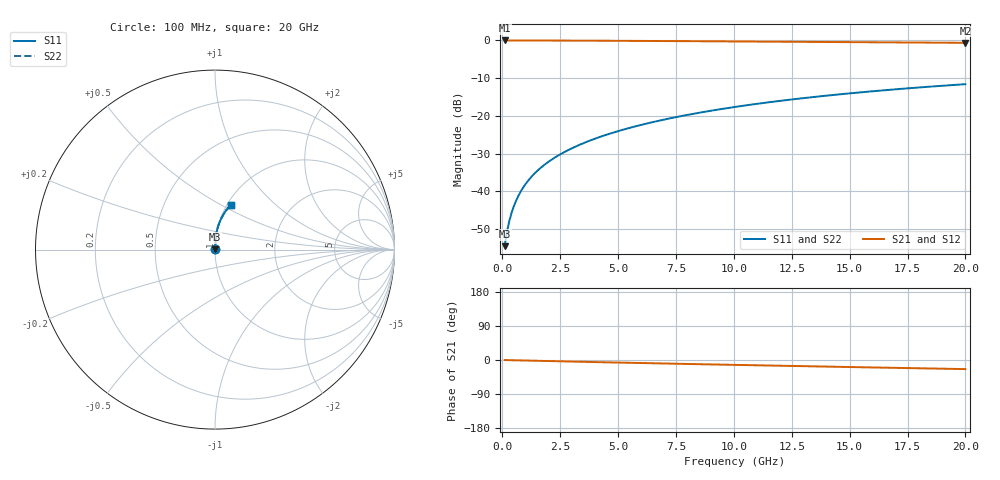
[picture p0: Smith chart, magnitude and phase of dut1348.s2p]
! Touchstone file exported from HFSS 2024.1.0
!  File:  C:/UserFiles/LocalFiles/RDL_TSV_Batchsim/temp_RDL_top_1348_1780366088.aedt
!  Generated:  10:10:16 AM Jun  2, 2026
!  Design:  RDL_top
!  Project:  temp_RDL_top_1348_1780366088
!  Setup:  Setup1
!  Solution:  Sweep
! Variables:
!  dtsv = 10.80580581um
!  hbump = 3um
!  htsv = 54.86um
!  ldown = 100um
!  lrdl = 309.8um
!  p = 40
!  p1 = 51.35um
!  rhole = 1um
!  t = 450um
!  tdown = 3.915915916um
!  trdl = 4.72um
!  wdown = 15.38538539um
!  wrdl = 19.51um
# GHz S MA R 50.000000
! Terminal data exported
! Port[1] = Box2_T1
! Port[2] = Box2_T2
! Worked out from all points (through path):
!   200 points, 100 MHz to 20 GHz, reference 50 ohm
!   highest |S21| = -0.01 dB at 100 MHz (marker M1); lowest = -0.6 dB at 20 GHz (marker M2)
!   group delay of S21, straight-line fit = 3.3 ps
!   lowest |S11| = -54.6 dB at 100 MHz (marker M3), VSWR 1.00, Z = 50.1 + j0.131 ohm
!   |S11| at or under -10 dB: start of sweep to end of sweep
!   |S22| runs from -54.6 to -11.6 dB; largest |S21 - S12| = 2.6e-15
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0.1  0.001869 44.3  0.9987 -0.1  0.9987 -0.1  0.001869 44.3
! Gamma 0 0 0 0
! Port Impedance 50 0 50 0
0.2  0.002877 61.2  0.9986 -0.3  0.9986 -0.3  0.002876 61.2
0.3  0.003991 69.3  0.9985 -0.4  0.9985 -0.4  0.003991 69.3
0.4  0.005154 74.0  0.9984 -0.6  0.9984 -0.6  0.005154 74.0
0.5  0.006341 76.9  0.9983 -0.7  0.9983 -0.7  0.006341 76.9
0.6  0.007541 78.9  0.9983 -0.8  0.9983 -0.8  0.007541 78.9
0.8  0.009962 81.4  0.9981 -1.1  0.9981 -1.1  0.009962 81.4
1.1  0.01362 83.5  0.9978 -1.5  0.9978 -1.5  0.01362 83.5
1.5  0.01851 84.9  0.9973 -2.1  0.9973 -2.1  0.01851 84.9
1.8  0.02219 85.5  0.9968 -2.5  0.9968 -2.5  0.02219 85.5
2.1  0.02588 86.0  0.9963 -2.9  0.9963 -2.9  0.02588 86.0
2.7  0.03332 86.5  0.995 -3.7  0.995 -3.7  0.03332 86.5
3.5  0.04335 86.7  0.9929 -4.8  0.9929 -4.8  0.04335 86.7
4.2  0.05228 86.7  0.9908 -5.7  0.9908 -5.7  0.05228 86.7
5  0.06266 86.5  0.9882 -6.8  0.9882 -6.8  0.06266 86.5
5.9  0.07455 86.1  0.9851 -7.9  0.9851 -7.9  0.07455 86.1
6.8  0.08664 85.5  0.9818 -9.0  0.9818 -9.0  0.08664 85.5
8.4  0.1085 84.2  0.9758 -11.0  0.9758 -11.0  0.1085 84.2
10.1  0.1319 82.4  0.9693 -13.0  0.9693 -13.0  0.1319 82.4
13.4  0.1771 78.6  0.9563 -16.8  0.9563 -16.8  0.1771 78.6
16.7  0.221 74.7  0.9428 -20.4  0.9428 -20.4  0.221 74.7
20  0.2629 70.8  0.9287 -24.0  0.9287 -24.0  0.2629 70.8
